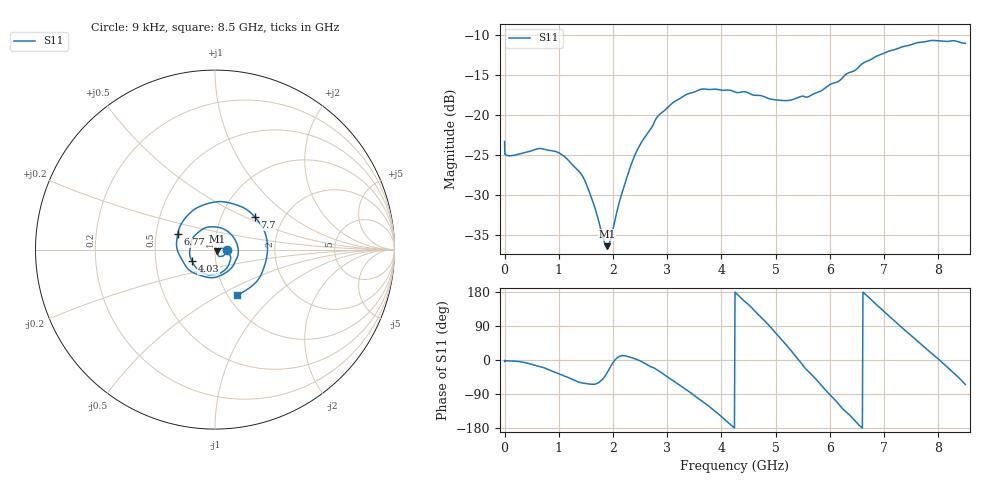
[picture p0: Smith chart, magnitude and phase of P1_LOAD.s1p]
! LibreCAL 5mOUNstcbC0A set FACTORY P1_LOAD
# GHz S RI R 50
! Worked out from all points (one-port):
!   1202 points, 9 kHz to 8.5 GHz, reference 50 ohm
!   lowest |S11| = -36.4 dB at 1.89 GHz (marker M1), VSWR 1.03, Z = 51.3 - j0.861 ohm
!   |S11| at or under -10 dB: start of sweep to end of sweep
!   S11 on the Smith chart (normalised r, x): 9 kHz: 1.15, -0.01; 4.03 GHz: 0.77, -0.10; 6.77 GHz: 0.65, +0.12; 7.7 GHz: 1.43, +0.57; 8.5 GHz: 1.10, -0.61
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9e-06  0.0684 -0.00403
0.0021  0.0597 -0.00409
0.0062  0.0573 -0.00265
0.051  0.0558 -0.00211
0.65  0.059 -0.0184
1.07  0.0431 -0.0361
1.47  0.0189 -0.0347
1.89  0.0125 -0.0084
1.96  0.0162 -0.00463
2.13  0.0292 0.00525
2.5  0.0654 -0.00269
2.83  0.0876 -0.0458
3.19  0.0583 -0.1103
3.63  -0.0432 -0.1391
4.03  -0.1279 -0.0642
4.26  -0.1392 0.0055
4.8  -0.0296 0.1265
5.32  0.119 0.0398
5.66  0.105 -0.0827
5.95  0.0156 -0.1507
6.38  -0.1571 -0.0998
6.77  -0.2079 0.0855
7.13  -0.0921 0.237
7.44  0.0874 0.2587
7.7  0.2214 0.1827
7.9  0.2843 0.0753
8.09  0.2877 -0.0447
8.5  0.1205 -0.2556
